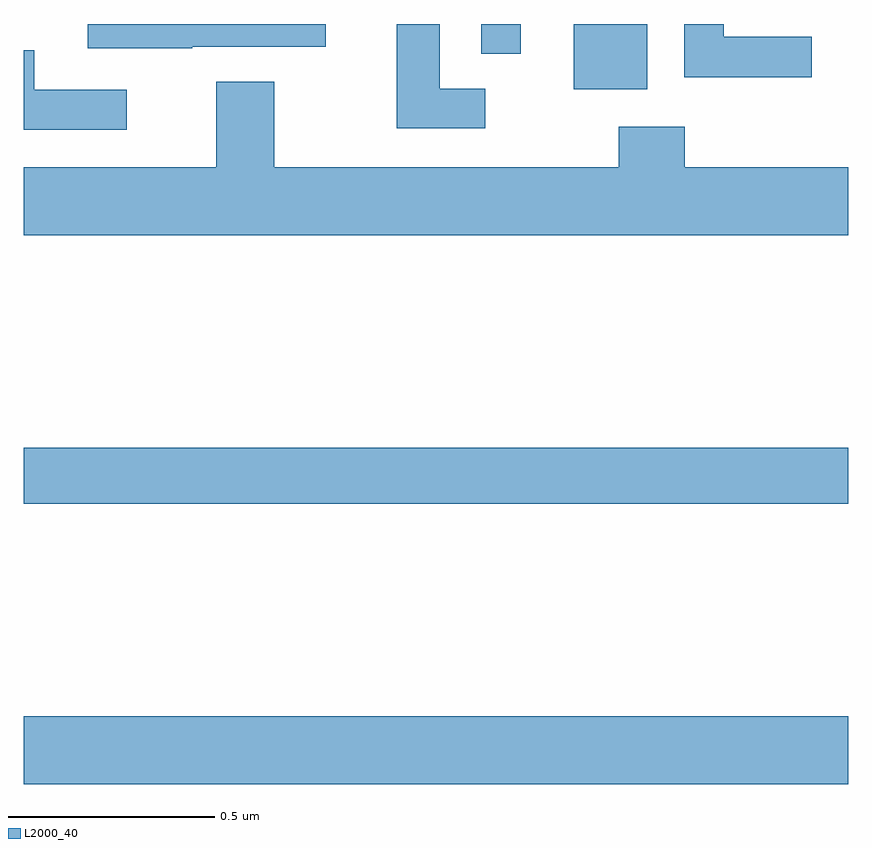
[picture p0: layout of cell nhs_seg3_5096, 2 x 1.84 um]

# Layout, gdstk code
import gdstk
lib = gdstk.Library(unit=1e-6, precision=1e-09)
def R(c, l, rs):  # rectangles x0, y0, x1, y1
    for r in rs: c.add(gdstk.rectangle(r[:2], r[2:], *l))
def P(c, l, *ps):  # polygons
    for p in ps: c.add(gdstk.Polygon(p, *l))
L2000_40 = (2000, 40)

nhs_seg3_5096 = lib.new_cell('nhs_seg3_5096')
R(nhs_seg3_5096, L2000_40, [(174,727.556,176,727.72), (174,728.236,176,728.372), (175.334,729.242,175.513,729.4), (175.11,729.328,175.206,729.4)])
P(nhs_seg3_5096, L2000_40, [(175.912,729.369),(175.698,729.369),(175.698,729.4),(175.602,729.4),(175.602,729.271),(175.912,729.271)],
  [(175.12,729.243),(175.009,729.243),(175.009,729.4),(174.905,729.4),(174.905,729.147),(175.12,729.147)],
  [(174.409,729.345),(174.733,729.345),(174.733,729.4),(174.155,729.4),(174.155,729.341),(174.409,729.341)],
  [(174.25,729.24),(174.025,729.24),(174.025,729.336),(174,729.336),(174,729.144),(174.25,729.144)],
  [(176,729.052),(175.604,729.052),(175.604,729.151),(175.444,729.151),(175.444,729.052),(174.607,729.052),(174.607,729.26),(174.467,729.26),(174.467,729.052),(174,729.052),(174,728.888),(176,728.888)])

lib.write_gds('nhs_seg3_5096.gds')
